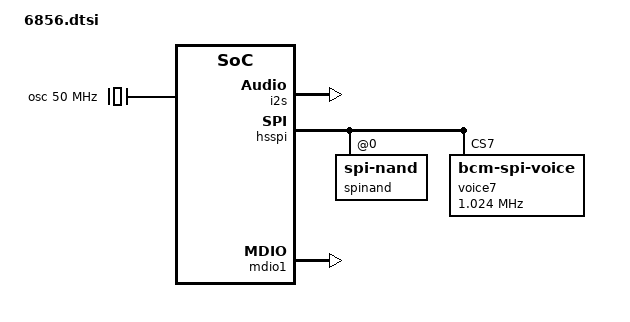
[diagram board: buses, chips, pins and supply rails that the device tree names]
/dts-v1/;

#include "linux_autoconf.h"

#include "../../boot_rsvdmem.dtsi"
#include "../../bcm_thermal.dtsi"

/ {
	/* arch */
	#define PMU_CORE0_SPI	9
	#define PMU_CORE1_SPI	10
	#include "../../ip/bcm_b53_dual.dtsi"

	/* clocks */
	#define PERIPH_CLK		200000000
	#define HS_SPI_PLL_CLK	400000000
	#include "../../ip/bcm_clocks.dtsi"

	/* memory reservations */
	#include "../../bcm_rsvdmem.dtsi"

	/* memc */
	memory_controller {
		#define MEMC_REG_NAMES  "memc-int-clear-reg",   \
					"memc-int-mask-clear-reg", \
					"phyctl_idle_pad_ctl",  \
					"phyctl_idle_pad_en0",  \
					"phyctl_idle_pad_en1",  \
					"phybl0_idle_pad_ctl",  \
					"phybl1_idle_pad_ctl",  \
					"phybl2_idle_pad_ctl",  \
					"phybl3_idle_pad_ctl",  \
					"phybl0_clock_idle",    \
					"phybl1_clock_idle",    \
					"phybl2_clock_idle",    \
					"phybl3_clock_idle",    \
					"auto_self_refresh",    \
					"glb_gcfg"

		#define MEMC_REG    <0 0x80180E08 0 4>, \
					<0 0x80180E14 0 4>, \
					<0 0x801A0034 0 4>, \
					<0 0x801A0038 0 4>, \
					<0 0x801A003C 0 4>, \
					<0 0x801A04AC 0 4>, \
					<0 0x801A06AC 0 4>, \
					<0 0x801A08AC 0 4>, \
					<0 0x801A0AAC 0 4>, \
					<0 0x801A04E0 0 4>, \
					<0 0x801A06E0 0 4>, \
					<0 0x801A08E0 0 4>, \
					<0 0x801A0AE0 0 4>, \
					<0 0x8018025C 0 4>, \
					<0 0x80180004 0 4>


		#define MEMC_CPU_INT_LINE		18

		#include "../../ip/memc.dtsi"
	};

	aliases {
		serial0 = &uart0;
		serial1 = &uart1;
		spi1 = &hsspi; /* 0 = legacy, 1 = high speed */
		hs_serial0 = &hs_uart0;
		spinand0 = &spinand;
		nand0 = &nand;
	};

	chosen {
		stdout-path = "serial0:115200n8";
		/* increase coherent_pool size */
		bootargs = "coherent_pool=4M cpuidle_sysfs_switch pci=pcie_bus_safe console=ttyS0,115200 earlyprintk  rootwait rng_core.default_quality=1024";
	};

	misc_io {
		compatible = "brcm,misc-io";
		misc-periph-chip-id-rev = <0x0 0xff800000 0x0 0x4>;
		misc-periph-chip-id-mask = <0xfffff000>;
		misc-periph-chip-id-shift = <12>;
		misc-periph-chip-rev-mask = <0xfff>;
	};

	/* PMC */
	pmc: pmc {
		#define PMC_REG_OFFSET              0x0 0xffb01018
		#define PMC_REG_SIZE                0x0 0x5080
		#define PROCMON_REG_OFFSET          0x0 0xffb20000
		#define PROCMON_REG_SIZE            0x0 0x240
		#define MAESTRO_REG_OFFSET          0x0 0xffb20400
		#define MAESTRO_REG_SIZE            0x0 0x5d0
		#include "../../ip/bcm_pmc_3_1.dtsi"
	};

	cci: cci {
		#define CCI_OFFSET					0x0 0x81090000 
		#define CCI_SIZE					0x0 0x6000
		#define SLAVEINTF_CPU_NUM			3
		#include "../../ip/bcm_arm_cci400.dtsi"
	};

	/* wan type auto detect */
	wantype_detect {
		#define GPON_GENERAL_CONFIG_ADDR	0x0 0x82db1000
		#define GPON_GENERAL_CONFIG_SIZE	0x0 0x10
		#define EPON_TOP_ADDR			0x0 0x82dac000
		#define EPON_TOP_SIZE			0x0 0x1C
		#define EPON_LIF_ADDR			0x0 0x82dad800
		#define EPON_LIF_SIZE			0x0 0x110
		#define EPON_XPCSR_ADDR			0x0 0x82daf000
		#define EPON_XPCSR_SIZE			0x0 0x124
		#define NGPON_RXGEN_ADDR		0x0 0x82db4000
		#define NGPON_RXGEN_SIZE		0x0 0x80
		#include "../../ip/bcm_wantype_detect.dtsi"
	};

	/* pcie common */
	pcie: pcie {
		compatible = "brcm,bcm-pcie";
		device_type = "cpci";
		brcm,pllclkid = <0x210>;
	};

	/* pcie core 0 */
	pcie0: pcie@0 {
		/* pcie core 0*/
		#define PCIE_ID				0
		#define PCIE_SPI			60
		#define PCIE_ADDR			0x80040000
		#define PCIE_SIZE			0x0000A000
		#define PCIE_RANGE_ADDR		0x90000000
		#define PCIE_RANGE_SIZE		0x10000000
		#include "../../ip/bcm_pcie_core.dtsi"
	};

	/* pcie core 1*/
	pcie1: pcie@1 {
		#define PCIE_ID				1
		#define PCIE_SPI			61
		#define PCIE_ADDR			0x80050000
		#define PCIE_SIZE			0x0000A000
		#define PCIE_RANGE_ADDR		0xA0000000
		#define PCIE_RANGE_SIZE		0x10000000
		#include "../../ip/bcm_pcie_core.dtsi"
	};

	/* pcie core 2*/
	pcie2: pcie@2 {
		#define PCIE_ID				2
		#define PCIE_SPI			62
		#define PCIE_ADDR			0x80060000
		#define PCIE_SIZE			0x0000A000
		#define PCIE_RANGE_ADDR		0xB0000000
		#define PCIE_RANGE_SIZE		0x10000000
		#include "../../ip/bcm_pcie_core.dtsi"
	};

	/* usb */
	usb_ctrl: usb_ctrl {
		#define USB_CTRL_ADDR       0x0 0x8000c200
		#define USB_CTRL_SIZE       0x0 0x100
		#include "../../ip/bcm_usb_ctrl.dtsi"
    };

	usb0_xhci: usb0_xhci {
		#define USB_ADDR            0x0 0x8000d000
		#define USB_SIZE            0x0 0x1000
		#define USB_IRQ             121
		#include "../../ip/bcm_usb_xhci.dtsi"

		xhci_port: port@1{
			reg = <1>;
			#trigger-source-cells = <0>;
		};
	};

	usb0_ehci: usb0_ehci {
		#define USB_ADDR			0x0 0x8000c300
		#define USB_SIZE			0x0 0x100
		#define USB_IRQ             125
		#include "../../ip/bcm_usb_ehci.dtsi"

 		ehci0_port: port@1{
			reg = <1>;
			#trigger-source-cells = <0>;
		};
	};

	usb1_ehci: usb1_ehci {
		#define USB_ADDR			0x0 0x8000c500
		#define USB_SIZE			0x0 0x100
		#define USB_IRQ             123
		#include "../../ip/bcm_usb_ehci.dtsi"

		ehci1_port: port@1{
			reg = <1>;
			#trigger-source-cells = <0>;
		};
	};

	usb0_ohci: usb0_ohci {
		#define USB_ADDR			0x0 0x8000c400
		#define USB_SIZE			0x0 0x100
		#define USB_IRQ             124
		#include "../../ip/bcm_usb_ohci.dtsi"

 		ohci0_port: port@1{
			reg = <1>;
			#trigger-source-cells = <0>;
		};
	};

	usb1_ohci: usb1_ohci {
		#define USB_ADDR			0x0 0x8000c600
		#define USB_SIZE			0x0 0x100
		#define USB_IRQ             122
		#include "../../ip/bcm_usb_ohci.dtsi"

 		ohci1_port: port@1{
			reg = <1>;
			#trigger-source-cells = <0>;
		};
	};

	/* UBUS */
	ubus: ubus {
		compatible = "simple-bus";
		#address-cells = <2>;
		#size-cells = <2>;
		ranges;

		ubus_sys: ubus_sys {
			#address-cells = <2>;
			#size-cells = <2>;
			#define UBUS_SYSTOP_OFFSET         0x0 0x83000000
			#define UBUS_SYSTOP_SIZE           0x0 0x80
			#define UBUS_REGISTRATION_OFFSET   0x0 0x83000200
			#define UBUS_REGISTRATION_SIZE     0x0 0x80
			#define UBUS_COHERENCY_PORT_OFFSET 0x0 0x810A0400
			#define UBUS_COHERENCY_PORT_SIZE   0x0 0x400
			#define UBUS_MODULE_XRDP           0x0
			#include "../../ip/bcm_ubus4.dtsi"
			ubus_mst_sys: ubus_mst {
				reg-names = "BIU", "PER", "USB", "PCIE0",
					"PCIE2", "QM", "DQM", "DMA0",
					"DMA1", "NATC", "RQ0", "RQ1";
				reg = <0x0 0x83020000 0x0 0x1000>,
					<0x0 0x83058000 0x0 0x1000>,
					<0x0 0x83038000 0x0 0x1000>,
					<0x0 0x8300C000 0x0 0x1000>,
					<0x0 0x83028000 0x0 0x1000>,
					<0x0 0x830AC000 0x0 0x1000>,
					<0x0 0x830A4000 0x0 0x1000>,
					<0x0 0x83064000 0x0 0x1000>,
					<0x0 0x83068000 0x0 0x1000>,
					<0x0 0x830A0000 0x0 0x1000>,
					<0x0 0x83080000 0x0 0x1000>,
					<0x0 0x83088000 0x0 0x1000>;
			};
		};

		ubus_dcm_sys: ubus_dcm_sys {
			#define UBUS_DCM_CLK_OFFSET  0x0 0x83000080
			#define UBUS_DCM_CLK_SIZE    0x0 0x80
			#define UBUS_MODULE_XRDP     0x0
			#include "../../ip/bcm_ubus4_dcm.dtsi"
		};
	};

	periph {
		compatible = "simple-bus";
		#address-cells = <2>;
		#size-cells = <2>;
		ranges = <0x0 0x0 0x0 0xff800000 0x0 0x62000>;

		strap: strap {
			#define STRAP_REG_OFFSET            0x0 0x2600
			#define STRAP_REG_SIZE              0x0 0x4
			#include "../../ip/bcm_strap.dtsi"
			boot-select-0=<5 1>;
			boot-select-1=<6 1>;
			boot-select-2=<7 1>;
			boot-select-3=<8 1>;
			boot-select-4=<9 1>;
			boot-select-5=<10 1>;
			bootrom-boot=<11 0>;
		};

		dying_gasp: dying_gasp {
			#define DG_PERIPH_REG_OFFSET	0x0 0x5A024
			#define DG_PERIPH_REG_SIZE	0x0 0x4
			#define DG_UART_DR_OFFSET	0x0 0x654
			#define DG_UART_DR_SIZE		0x0 0x4
			#include "../../ip/bcm_dgasp_periph.dtsi"
			interrupts = <GIC_SPI 29 IRQ_TYPE_LEVEL_HIGH>;
		};

		otp: otp {
			#define OTP_REG_OFFSET            0x0 0x2800 
			#define OTP_REG_SIZE              0x0 0x54
			#include "../../ip/bcm_otp.dtsi"
			sec-additional-validation;
		};

		/* boot state */
		boot_state: boot_state {
			#define RESET_REASON_OFFSET  0x0 0x263c
			#define RESET_REASON_SIZE    0x0 0x4
			#define RESET_STATUS_OFFSET  0x0 0x5a03c
			#define RESET_STATUS_SIZE    0x0 0x4
			#include "../../ip/bcm_boot_state_v2.dtsi"
		};

		/* NAND controller */
		nand: nand {
			pinctrl-0 = <&data_pins &nand_ctrl_pins>;
			pinctrl-names = "default";
			#define NAND_CTRL_OFFSET		0x0 0x1800
			#define NAND_CTRL_SIZE			0x0 0x400
			#define NAND_INTR_OFFSET		0x0 0x2000
			#define NAND_INTR_SIZE			0x0 0x10
			#define NAND_CACHE_OFFSET		0x0 0x1C00
			#define NAND_CACHE_SIZE			0x0 0x200
			#include "../../ip/bcm_nand7_1.dtsi"
		};

		/* EMMC */
		sdhci: sdhci {
			pinctrl-0 = <&emmc_ctrl_pins>;
			pinctrl-names="default";
			#define SDHCI_OFFSET			0x00000000 0x58000
			#define SDHCI_SIZE			0x00000000 0x100
			#define SDHCI_TOPCFG_OFFSET		0x00000000 0x58100
			#define SDHCI_TOPCFG_SIZE		0x00000000 0x100
			#define SDHCI_BOOT_OFFSET		0x00000000 0x58200
			#define SDHCI_BOOT_SIZE			0x00000000 0x40
			#define SDHCI_AHBSS_CTRL_OFFSET		0x00000000 0x58300
			#define SDHCI_AHBSS_CTRL_SIZE		0x00000000 0x100
			#define SDIO_EMMC_SPI			95
			#include "../../ip/bcm_sdhci.dtsi"
		};

		hs_uart0: hs_serial0 {
			#define UART_OFFSET			0x0 0x58400
			#define UART_SIZE			0x0 0x1E0
			#define UART_SPI 			93
			#include "../../ip/bcm_hs_uart.dtsi"
		};

		/* UART */
		uart0: serial0 {
			#define UART_OFFSET			0x0 0x640
			#define UART_SIZE			0x0 0x18
			#define UART_SPI 			32
			#include "../../ip/bcm_uart.dtsi"
		};

		/* UART 2*/
		uart1: serial1 {
			#define UART_OFFSET			0x0 0x660
			#define UART_SIZE			0x0 0x18
			#define UART_SPI 			33
			#include "../../ip/bcm_uart.dtsi"
		};

		rng: rng {
			#define RNG200_OFFSET			0x0 0xb80
			#define RNG200_SIZE			0x0 0x28
			#include "../../ip/bcm_rng200.dtsi"
		};

		i2c0: i2c0 {
			#define I2C_OFFSET			0x0 0x2100
			#define I2C_SIZE			0x0 0x60
			#include "../../ip/bcm_i2c_bus.dtsi"
		};

		/* periph timers */
		timers: timers {
			#define TIMERS_OFFSET		0x0 0x400
			#define TIMERS__SIZE		0x0 0x48
			#define TIMER0_SPI			11
			#define TIMER1_SPI			12
			#define TIMER2_SPI			13
			#define TIMER3_SPI			14
			#include "../../ip/bcm_timer.dtsi"
		};

		/* watchdog */
		wdt: watchdog {
			#define WATCHDOG_OFFSET			0x0 0x480
			#define WATCHDOG_SIZE			0x0 0x10
			#define WATCHDOG_TIMEOUT		80
			#include "../../ip/bcm_wdt.dtsi"
			interrupts = <GIC_SPI 16 IRQ_TYPE_LEVEL_HIGH>;
		};

		/* watchdog reboot */
		wdt-reboot {
			compatible = "wdt-reboot";
			wdt = <&wdt>;
		};
		
		/* sotp */
		sotp {
			#define SOTP_OFFSET			0x0 0xc00
			#define SOTP_SIZE			0x0 0x84
			#include "../../ip/bcm_sotp.dtsi"
		};
		
		/* pinctrl */
		pincontroller: pinctrl {
			#define PINCTRL_OFFSET			0x0 0x554
			#define PINCTRL_SIZE			0x0 0xc
			#define PINCTRL_NUM_PINS		84
			#define PINCTRL_NUM_FUNC		8
			#define PINCTRL_GPIO_FUNC		4
			#include "../../ip/bcm_bca_pinctrl.dtsi"
			#include "6856_pinctrl.dtsi"
		};

		/* gpio */
		gpioc: gpioc {
			#define GPIO_DIR_OFFSET      0x0 0x500
			#define GPIO_DIR_SIZE        0x0 0x20
			#define GPIO_DATA_OFFSET     0x0 0x520
			#define GPIO_DATA_SIZE       0x0 0x20
			#define NUM_OF_GPIOS         84 
			#include "../../ip/bcm_bca_gpio.dtsi"
		};

		/* external interrups */
		bca_extintr: bca_extintr0 {
			#define EXTINTR_OFFSET       0x0 0x4
			#define EXTINTR_SIZE         0x0 0x48
			#define MAX_EXT_INTR         8
			#include "../../ip/bcm_bca_extintr.dtsi"
			external_interrupts = <181 182 183 184 185 186 187 188>;
		};

		/* Led Controller */
		led_ctrl: led_ctrl {
			#define LED_GLBL_CTRL_OFFSET     0x0 0x800
			#define LED_GLBL_CTRL_SIZE       0x0 0x4 
			#define LED_HW_EN_OFFSET         0x0 0x808
			#define LED_HW_EN_SIZE           0x0 0x4
			#define LED_SER_SHIFT_OFFSET     0x0 0x80c
			#define LED_SER_SHIFT_SIZE       0x0 0x4
			#define LED_FLASH_RATE_OFFSET    0x0 0x810
			#define LED_FLASH_RATE_SIZE      0x0 0x10
			#define LED_BRIGHTNESS_OFFSET    0x0 0x820
			#define LED_BRIGHTNESS_SIZE      0x0 0x10
			#define LED_POWER_LED_CFG_OFFSET 0x0 0x830
			#define LED_POWER_LED_CFG_SIZE   0x0 0x4
			#define LED_POWER_LUT_OFFSET     0x0 0x834
			#define LED_POWER_LUT_SIZE       0x0 0x80
			#define LED_HW_POLARITY_OFFSET   0x0 0x8b4
			#define LED_HW_POLARITY_SIZE     0x0 0x4
			#define LED_SW_DATA_OFFSET       0x0 0x8b8
			#define LED_SW_DATA_SIZE         0x0 0x4
			#define LED_SW_POLARITY_OFFSET   0x0 0x8bc
			#define LED_SW_POLARITY_SIZE     0x0 0x4
			#define LED_PAR_POLARITY_OFFSET  0x0 0x8c0
			#define LED_PAR_POLARITY_SIZE    0x0 0x4
			#define LED_SER_POLARITY_OFFSET  0x0 0x8c4
			#define LED_SER_POLARITY_SIZE    0x0 0x4
			#define LED_MASK_OFFSET          0x0 0x804
			#define LED_MASK_SIZE            0x0 0x4
			#define MAX_SUPPORTED_LEDS       32

			hw-polarity-quirk = <0xc0000000>;
			status = "okay";
			#include "../../ip/bcm_led_ctrl.dtsi"
			#include "6856_leds.dtsi"
		};

		i2s: bcm63xx-i2s {
			pinctrl-0 = <&i2s_sdata_pin_0 &i2s_sclk_pin_1 &i2s_lrck_pin_2>;
			pinctrl-names = "default";
			compatible = "brcm,bcm63xx-i2s";
			reg = <0 0x2080 0 0x21>; 
			clocks = <&i2sclk>, <&osc>;
			clock-names = "i2sclk","i2sosc";
		};

		/* HS SPI */
		hsspi: spi {
			pinctrl-0 = <&spim_group_pins>;
			pinctrl-names = "default";
			#define HS_SPI_OFFSET			0x0 0x1000
			#define HS_SPI_SIZE			0x0 0x600
			#define HS_SPI_MAX_FREQ			100000000
			#include "../../ip/bcm_hsspi.dtsi"
			spinand: spi-nand@0 {
				#define SPINAND_MAX_FREQ	100000000
				#include "../../ip/bcm_spinand.dtsi"
			};

			voice7 {
				pinctrl-0 = <&pcm_sdin_pin_45 &pcm_sdout_pin_46 &pcm_clk_pin_47 &pcm_fs_pin_75>;
				pinctrl-names = "default";
				compatible = "bcm-spi-voice";
				reg = <7>; /* chip select 7 */
				spi-index = <7>;/* ZSI/ISI header position index */
				spi-max-frequency = <1024000>;
			};
		};

		bcm63xx-apm-pcm {
			compatible = "brcm,bcm63xx-apm-pcm";
			reg = <0x0 0x60000 0x0 0x1c60>;
			interrupts = <GIC_SPI 114 IRQ_TYPE_LEVEL_HIGH>;
		};		
	};

	legacy_leds: legacy_leds {
		compatible = "brcm,legacy-led";
	};

	/* i2s */
	clocks {
		i2s_clkmclk_syscon: i2s_clkmclk_syscon@0xFF802080 {
			compatible = "brcm,i2s-audio-clkmclk-syscon", "syscon";
			reg = <0x0 0xFF802080 0x0 0x4>;
		};

		osc: oscillator {
			#clock-cells = <0>;
			compatible = "fixed-clock";
			clock-frequency = <50000000>; /* xpon 50MHz output */
		};

		i2sclk: i2sclk@0x80158000 {
			#clock-cells = <0>;
			compatible = "brcm,i2s-clock";
			clocks = <&osc>;
			clk-mclk-syscon        = <&i2s_clkmclk_syscon>;
			clock-output-names     = "i2s_clk";
		};
	};

	/* pcm */
	pcm5100 {
		compatible = "brcm,pcm5100";
	};

	bcm63xx-pcm-audio {
		compatible = "brcm,bcm63xx-pcm-audio";
		interrupts = <GIC_SPI 84 IRQ_TYPE_LEVEL_HIGH>;
	};

    unimac {
		compatible = "brcm,unimac";
        reg = <0x0 0x82da0000 0x0 0x6000>,
              <0x0 0x82da8000 0x0 0x1800>,
              <0x0 0x82daa000 0x0 0x1800>;
        conf_offset = <0x1000>;
        mib_offset = <0x400>;
        top_offset = <0x400>;
    };

    egphy {
		compatible = "brcm,egphy";
        reg = <0x0 0x82db2204 0x0 0x0c>;
    };

    sgmii {
		compatible = "brcm,sgmii";
        reg = <0x0 0x82db2280 0x0 0x14>;
    };

    mdio1 {
		compatible = "brcm,mdio1";
        reg = <0x0 0xff802060 0x0 0x10>;
    };

	rgmii: rgmii {
        compatible = "brcm,rgmii1";
        reg = <0x0 0x82d98300 0x0 0x44>,
              <0x0 0xff800500 0x0 0x78>,
              <0x0 0xff85a004 0x0 0x04>;
        status = "disabled";
	};

	mdio: mdio {
		compatible = "simple-bus";
		bus-type = "MDIO_V1";
		#address-cells = <1>;
		#size-cells = <0>;

		phy1:1 {
			compatible = "brcm,bcaphy";
			phy-type = "EGPHY";
			reg = <1>;
			status = "disabled";
		};

		phy2:2 {
			compatible = "brcm,bcaphy";
			phy-type = "EGPHY";
			reg = <2>;
			status = "disabled";
		};

		phy3:3 {
			compatible = "brcm,bcaphy";
			phy-type = "EGPHY";
			reg = <3>;
			status = "disabled";
		};

		phy4:4 {
			compatible = "brcm,bcaphy";
			phy-type = "EGPHY";
			reg = <4>;
			status = "disabled";
		};

		phy_rgmii:rgmii {
			compatible = "brcm,bcaphy";
			phy-type = "EXT1";
			status = "disabled";
		};

		phy_detect:detect {
			compatible = "brcm,bcaphy";
			phy-type = "EXT3";
			status = "disabled";
		};

		phy_ext_serdes:ext_serdes {
			compatible = "brcm,bcaphy";
            caps-no-hdx;
            caps-no-10000;
            caps-no-5000;
            phy-type = "EXT3";
			status = "disabled";
		};

		phy_serdes:serdes {
			compatible = "brcm,bcaphy";
			phy-type = "SGMII";
			reg = <6>;
			status = "disabled";
		};
	};

    wan_serdes_bus {
        compatible = "simple-bus";

        #address-cells = <1>;
        #size-cells = <0>;

        phy_wan_serdes: phy_wan_serdes {
            compatible = "brcm,bcaphy";
            phy-type = "PON";
            reg = <0>;
            status = "disabled";
        };
    };

	switch0: switch0 {
		compatible = "brcm,enet";
		label = "bcmsw";
		sw-type = "RUNNER_SW";

        pinctrl-0 = <&per_mdc_pin_60 &per_mdio_pin_61 &rgmii1_pins>;
        pinctrl-names = "default";

		ports {
			#address-cells = <1>;
			#size-cells = <0>;

			port_gphy0 {
				reg = <0>;
				mac-type = "UNIMAC";
				phy-handle = <&phy1>;
				phy-mode = "gmii";
				gmii-direct;
				status = "disabled";
			};

			port_gphy1 {
				reg = <1>;
				mac-type = "UNIMAC";
				phy-handle = <&phy2>;
				phy-mode = "gmii";
				gmii-direct;
				status = "disabled";
			};

			port_gphy2 {
				reg = <2>;
				mac-type = "UNIMAC";
				phy-handle = <&phy3>;
				phy-mode = "gmii";
				gmii-direct;
				status = "disabled";
			};

			port_gphy3 {
				reg = <3>;
				mac-type = "UNIMAC";
				phy-handle = <&phy4>;
				phy-mode = "gmii";
				gmii-direct;
				status = "disabled";
			};

			port_rgmii {
				reg = <4>;
				mac-type = "UNIMAC";
				phy-handle = <&phy_rgmii>;
				phy-mode = "rgmii";
				gmii-direct;
				status = "disabled";
			};

			port_hsgmii {
				reg = <5>;
				mac-type = "UNIMAC";
				phy-handle = <&phy_serdes>;
				phy-mode = "hsgmii";
				gmii-direct;
				status = "disabled";
			};

			port_wan {
				reg = <6>;
				phy-handle = <&phy_wan_serdes>;
				phy-mode = "serdes";
				detect;
				is-wan;
 				is-wanconf-mux-ae;
 				is-wanconf-mux-pon;
				status = "disabled";
			};
		};
	};

	gpon_drv {
		compatible = "brcm,gpon-drv";
		reg = <0x0 0x82db0000 0x0 0x2000>;
                interrupts = <GIC_SPI 99  IRQ_TYPE_LEVEL_HIGH>, /* INTERRUPT_WAN_GPON_RX */
                             <GIC_SPI 98  IRQ_TYPE_LEVEL_HIGH>; /* INTERRUPT_WAN_GPON_TX */
                interrupt-names = "gpon_rx", "gpon_tx";
	};
	ngpon_drv {
		compatible = "brcm,ngpon-drv";
		reg = <0x0 0x82db4000 0x0 0x9080>;
                interrupts = <GIC_SPI 107  IRQ_TYPE_LEVEL_HIGH>, /* INTERRUPT_WAN_XGRX */
                             <GIC_SPI 105  IRQ_TYPE_LEVEL_HIGH>, /* INTERRUPT_WAN_XGTX_INTR0 */
                             <GIC_SPI 106  IRQ_TYPE_LEVEL_HIGH>, /* INTERRUPT_WAN_XGTX_INTR1 */
                             <GIC_SPI 108  IRQ_TYPE_LEVEL_HIGH>, /* INTERRUPT_WAN_XGTX_INTR2 */
                             <GIC_SPI 109  IRQ_TYPE_LEVEL_HIGH>; /* INTERRUPT_WAN_XGTX_INTR3 */
                interrupt-names = "ngpon_rx", "ngpon_tx0", "ngpon_tx1", "ngpon_tx2", "ngpon_tx3";
	};
	rdpa_drv {
		compatible = "brcm,rdpa";
		reg = <0x0 0x82000000 0x0 0x1000000>;
                interrupts = <GIC_SPI 160 IRQ_TYPE_LEVEL_HIGH>, /* INTERRUPT_XRDP_FPM */
                     <GIC_SPI 128 IRQ_TYPE_LEVEL_HIGH>, /* INTERRUPT_XRDP_QUEUE_0 */
                     <GIC_SPI 129 IRQ_TYPE_LEVEL_HIGH>, /* INTERRUPT_XRDP_QUEUE_1 */
                     <GIC_SPI 130 IRQ_TYPE_LEVEL_HIGH>, /* INTERRUPT_XRDP_QUEUE_2 */
                     <GIC_SPI 131 IRQ_TYPE_LEVEL_HIGH>, /* INTERRUPT_XRDP_QUEUE_3 */
                     <GIC_SPI 132 IRQ_TYPE_LEVEL_HIGH>, /* INTERRUPT_XRDP_QUEUE_4 */
                     <GIC_SPI 133 IRQ_TYPE_LEVEL_HIGH>, /* INTERRUPT_XRDP_QUEUE_5 */
                     <GIC_SPI 134 IRQ_TYPE_LEVEL_HIGH>, /* INTERRUPT_XRDP_QUEUE_6 */
                     <GIC_SPI 135 IRQ_TYPE_LEVEL_HIGH>, /* INTERRUPT_XRDP_QUEUE_7 */
                     <GIC_SPI 136 IRQ_TYPE_LEVEL_HIGH>, /* INTERRUPT_XRDP_QUEUE_8 */
                     <GIC_SPI 137 IRQ_TYPE_LEVEL_HIGH>, /* INTERRUPT_XRDP_QUEUE_9 */
                     <GIC_SPI 138 IRQ_TYPE_LEVEL_HIGH>, /* INTERRUPT_XRDP_QUEUE_10 */
                     <GIC_SPI 139 IRQ_TYPE_LEVEL_HIGH>, /* INTERRUPT_XRDP_QUEUE_11 */
                     <GIC_SPI 140 IRQ_TYPE_LEVEL_HIGH>, /* INTERRUPT_XRDP_QUEUE_12 */
                     <GIC_SPI 141 IRQ_TYPE_LEVEL_HIGH>, /* INTERRUPT_XRDP_QUEUE_13 */
                     <GIC_SPI 142 IRQ_TYPE_LEVEL_HIGH>, /* INTERRUPT_XRDP_QUEUE_14 */
                     <GIC_SPI 143 IRQ_TYPE_LEVEL_HIGH>, /* INTERRUPT_XRDP_QUEUE_15 */
                     <GIC_SPI 144 IRQ_TYPE_LEVEL_HIGH>, /* INTERRUPT_XRDP_QUEUE_16 */
                     <GIC_SPI 145 IRQ_TYPE_LEVEL_HIGH>, /* INTERRUPT_XRDP_QUEUE_17 */
                     <GIC_SPI 146 IRQ_TYPE_LEVEL_HIGH>, /* INTERRUPT_XRDP_QUEUE_18 */
                     <GIC_SPI 147 IRQ_TYPE_LEVEL_HIGH>, /* INTERRUPT_XRDP_QUEUE_19 */
                     <GIC_SPI 148 IRQ_TYPE_LEVEL_HIGH>, /* INTERRUPT_XRDP_QUEUE_20 */
                     <GIC_SPI 149 IRQ_TYPE_LEVEL_HIGH>, /* INTERRUPT_XRDP_QUEUE_21 */
                     <GIC_SPI 150 IRQ_TYPE_LEVEL_HIGH>, /* INTERRUPT_XRDP_QUEUE_22 */
                     <GIC_SPI 151 IRQ_TYPE_LEVEL_HIGH>, /* INTERRUPT_XRDP_QUEUE_23 */
                     <GIC_SPI 152 IRQ_TYPE_LEVEL_HIGH>, /* INTERRUPT_XRDP_QUEUE_24 */
                     <GIC_SPI 153 IRQ_TYPE_LEVEL_HIGH>, /* INTERRUPT_XRDP_QUEUE_25 */
                     <GIC_SPI 154 IRQ_TYPE_LEVEL_HIGH>, /* INTERRUPT_XRDP_QUEUE_26 */
                     <GIC_SPI 155 IRQ_TYPE_LEVEL_HIGH>, /* INTERRUPT_XRDP_QUEUE_27 */
                     <GIC_SPI 156 IRQ_TYPE_LEVEL_HIGH>, /* INTERRUPT_XRDP_QUEUE_28 */
                     <GIC_SPI 157 IRQ_TYPE_LEVEL_HIGH>, /* INTERRUPT_XRDP_QUEUE_29 */
                     <GIC_SPI 158 IRQ_TYPE_LEVEL_HIGH>, /* INTERRUPT_XRDP_QUEUE_30 */
                     <GIC_SPI 159 IRQ_TYPE_LEVEL_HIGH>; /* INTERRUPT_XRDP_QUEUE_31 */
                interrupt-names = "fpm", "queue0", "queue1", "queue2", "queue3", "queue4", "queue5",
                          "queue6", "queue7", "queue8", "queue9", "queue10", "queue11", 
                          "queue12", "queue13", "queue14", "queue15", "queue16", "queue17",
                          "queue18", "queue19", "queue20", "queue21", "queue22", "queue23",
                          "queue24", "queue25", "queue26", "queue27", "queue28", "queue29",
                          "queue30", "queue31";
	};
	wan_serdes {
		compatible = "brcm,pon-drv";
		status = "disabled";
		reg = <0x0 0x82db2000 0x0 0x0100>;
	};
	epon_drv {
		compatible = "brcm,epon-drv";
		reg = <0x0 0x82dac000 0x0 0x4000>;
	};

#if defined (CONFIG_MMC_OOPS) || (CONFIG_MMC_OOPS_MODULE)
	mmcoops {
		#define MMC_OOPS_DUMP_OFFSET	1536 /* 768KB */
		#define MMC_OOPS_DUMP_SIZE	512  /* 256KB */	
		#define MMC_OOPS_DUMP_RECSIZE	64   /* 32KB */	
		#include "../../ip/bcm_mmc_oops.dtsi"
	};
#endif
#if defined(CONFIG_BCM_CPUIDLE_CLK_DIVIDER)
	biucfg {
		compatible = "brcm,bcm-biucfg";
		reg-names = "cluster_clk_ctrl0",
				"cluster_clk_pattern0";
		reg = <0x0 0x81060710 0x0 0x4>,
				<0x0 0x81060718 0x0 0x4>;
	};
#endif
};

